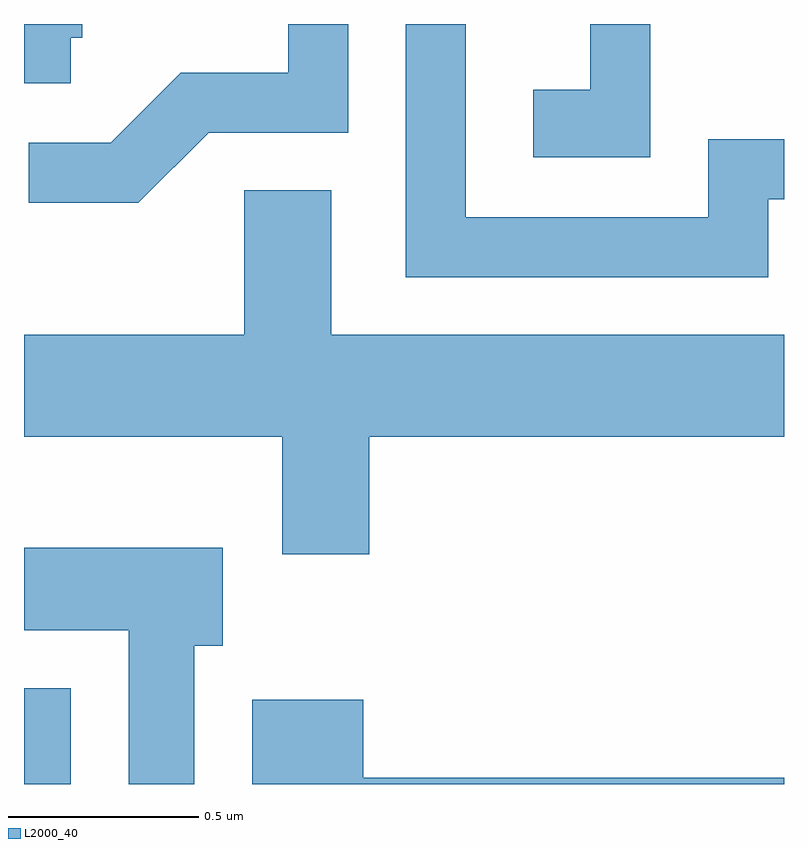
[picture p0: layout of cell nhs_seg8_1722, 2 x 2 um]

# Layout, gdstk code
import gdstk
lib = gdstk.Library(unit=1e-6, precision=1e-09)
def R(c, l, rs):  # rectangles x0, y0, x1, y1
    for r in rs: c.add(gdstk.rectangle(r[:2], r[2:], *l))
def P(c, l, *ps):  # polygons
    for p in ps: c.add(gdstk.Polygon(p, *l))
L2000_40 = (2000, 40)

nhs_seg8_1722 = lib.new_cell('nhs_seg8_1722')
R(nhs_seg8_1722, L2000_40, [(197.611,1884.342,197.734,1884.594)])
P(nhs_seg8_1722, L2000_40, [(199.569,1885.881),(199.611,1885.881),(199.611,1886.039),(199.411,1886.039),(199.411,1885.834),(198.774,1885.834),(198.774,1886.342),(198.616,1886.342),(198.616,1885.676),(199.569,1885.676)],
  [(198.097,1886.056),(198.464,1886.056),(198.464,1886.342),(198.306,1886.342),(198.306,1886.214),(198.024,1886.214),(197.839,1886.029),(197.623,1886.029),(197.623,1885.871),(197.912,1885.871)],
  [(197.734,1886.306),(197.764,1886.306),(197.764,1886.342),(197.611,1886.342),(197.611,1886.186),(197.734,1886.186)],
  [(199.259,1886.342),(199.101,1886.342),(199.101,1886.169),(198.951,1886.169),(198.951,1885.991),(199.259,1885.991)],
  [(198.519,1885.256),(199.611,1885.256),(199.611,1885.524),(198.419,1885.524),(198.419,1885.904),(198.191,1885.904),(198.191,1885.524),(197.611,1885.524),(197.611,1885.256),(198.291,1885.256),(198.291,1884.946),(198.519,1884.946)],
  [(198.059,1884.706),(198.134,1884.706),(198.134,1884.964),(197.611,1884.964),(197.611,1884.746),(197.886,1884.746),(197.886,1884.342),(198.059,1884.342)],
  [(199.611,1884.359),(198.504,1884.359),(198.504,1884.564),(198.211,1884.564),(198.211,1884.342),(199.611,1884.342)])

lib.write_gds('nhs_seg8_1722.gds')
